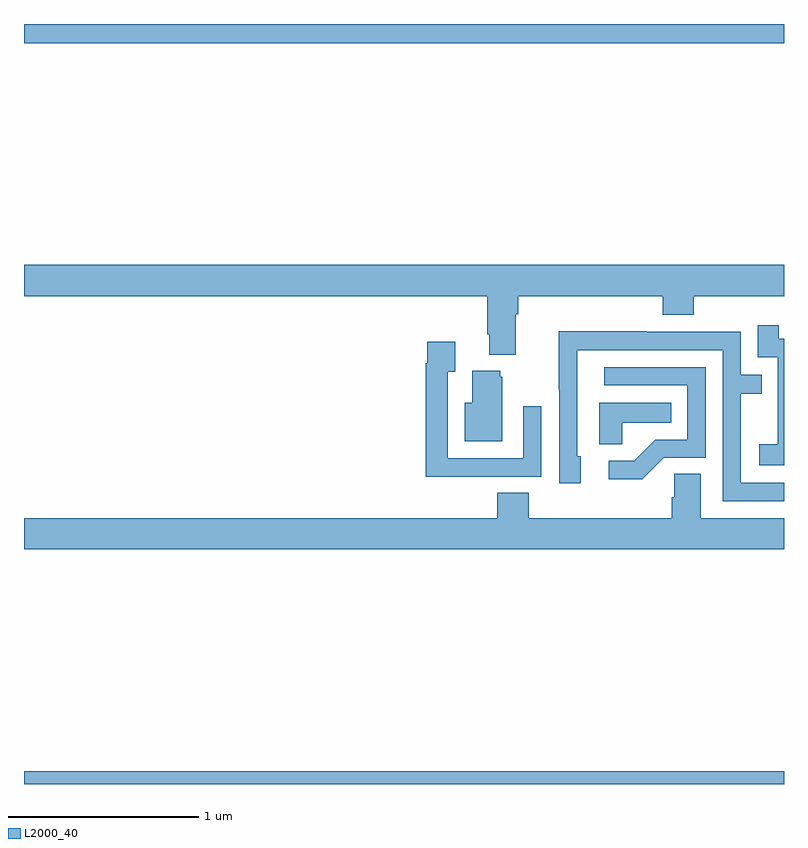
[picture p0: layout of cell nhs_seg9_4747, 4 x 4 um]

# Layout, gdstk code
import gdstk
lib = gdstk.Library(unit=1e-6, precision=1e-09)
def R(c, l, rs):  # rectangles x0, y0, x1, y1
    for r in rs: c.add(gdstk.rectangle(r[:2], r[2:], *l))
def P(c, l, *ps):  # polygons
    for p in ps: c.add(gdstk.Polygon(p, *l))
L2000_40 = (2000, 40)

nhs_seg9_4747 = lib.new_cell('nhs_seg9_4747')
R(nhs_seg9_4747, L2000_40, [(385,1212.5,389,1212.568), (385,1216.4,389,1216.5)])
P(nhs_seg9_4747, L2000_40, [(387.589,1214.972),(387.602,1214.972),(387.602,1215.068),(388.361,1215.068),(388.361,1214.969),(388.526,1214.969),(388.526,1215.068),(389,1215.068),(389,1215.232),(385,1215.232),(385,1215.068),(387.437,1215.068),(387.437,1214.866),(387.449,1214.866),(387.449,1214.759),(387.589,1214.759)],
  [(389,1214.844),(388.972,1214.844),(388.972,1214.914),(388.863,1214.914),(388.863,1214.745),(388.968,1214.745),(388.968,1214.516),(388.967,1214.516),(388.967,1214.287),(388.869,1214.287),(388.869,1214.177),(389,1214.177)],
  [(389,1214.085),(388.773,1214.085),(388.773,1214.554),(388.883,1214.554),(388.883,1214.655),(388.773,1214.655),(388.773,1214.88),(388.277,1214.88),(388.277,1214.882),(387.814,1214.882),(387.814,1214.575),(387.816,1214.575),(387.816,1214.082),(387.931,1214.082),(387.931,1214.226),(387.912,1214.226),(387.912,1214.784),(388.677,1214.784),(388.677,1213.989),(389,1213.989)],
  [(387.407,1214.118),(387.723,1214.118),(387.723,1214.488),(387.627,1214.488),(387.627,1214.214),(387.231,1214.214),(387.231,1214.671),(387.271,1214.671),(387.271,1214.827),(387.123,1214.827),(387.123,1214.714),(387.115,1214.714),(387.115,1214.117),(387.407,1214.117)],
  [(388.368,1214.217),(388.587,1214.217),(388.587,1214.694),(388.053,1214.694),(388.053,1214.598),(388.491,1214.598),(388.491,1214.313),(388.322,1214.313),(388.211,1214.202),(388.077,1214.202),(388.077,1214.105),(388.255,1214.105)],
  [(387.517,1214.643),(387.506,1214.643),(387.506,1214.674),(387.359,1214.674),(387.359,1214.506),(387.32,1214.506),(387.32,1214.303),(387.517,1214.303)],
  [(388.149,1214.402),(388.406,1214.402),(388.406,1214.506),(388.028,1214.506),(388.028,1214.287),(388.149,1214.287)],
  [(389,1213.9),(388.561,1213.9),(388.561,1214.132),(388.422,1214.132),(388.422,1214.009),(388.409,1214.009),(388.409,1213.9),(387.656,1213.9),(387.656,1214.033),(387.491,1214.033),(387.491,1213.9),(385,1213.9),(385,1213.736),(389,1213.736)])

lib.write_gds('nhs_seg9_4747.gds')
